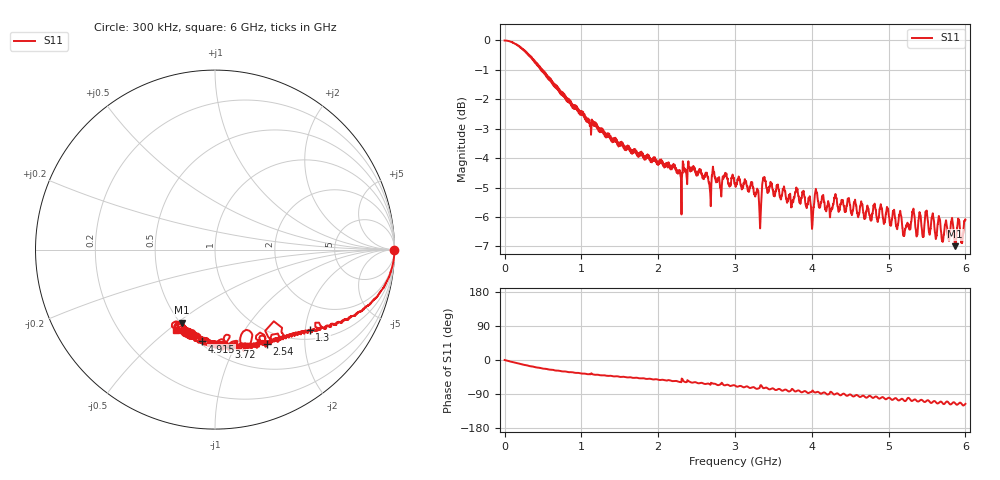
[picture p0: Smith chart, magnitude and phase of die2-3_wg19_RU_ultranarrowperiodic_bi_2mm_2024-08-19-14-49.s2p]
!Keysight Technologies,P9374A,MY57304198,A.17.20.09
!Date: Monday, August 19, 2024 14:49:09
!Correction: S11(C  1-Port  )
!S21(C  1-Port  )
!S12(Off)
!S22(Off)
!S2P File: Measurements: S11, S21, S12, S22:
# Hz S  dB  R 50
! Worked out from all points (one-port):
!   6000 points, 300 kHz to 6 GHz, reference 50 ohm
!   lowest |S11| = -7.0 dB at 5.867 GHz (marker M1), VSWR 2.62, Z = 25.5 - j26 ohm
!   |S11| at or under -10 dB: nowhere
!   S11 on the Smith chart (normalised r, x): 300 kHz: open; 1.3 GHz: 1.23, -2.11; 2.54 GHz: 0.81, -1.35; 3.72 GHz: 0.61, -0.95; 4.915 GHz: 0.52, -0.73; 6 GHz: 0.45, -0.53
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300000  -0.00 -0.0  -200.00 45.0  -200.00 45.0  -200.00 45.0
1.843215e8  -0.19 -9.5  -200.00 45.0  -200.00 45.0  -200.00 45.0
4.213491e8  -0.76 -19.5  -200.00 45.0  -200.00 45.0  -200.00 45.0
6.673778e8  -1.56 -27.7  -200.00 45.0  -200.00 45.0  -200.00 45.0
1.000417e9  -2.51 -35.7  -200.00 45.0  -200.00 45.0  -200.00 45.0
1.300452e9  -3.20 -40.3  -200.00 45.0  -200.00 45.0  -200.00 45.0
2.000533e9  -4.23 -52.1  -200.00 45.0  -200.00 45.0  -200.00 45.0
2.539596e9  -4.40 -61.2  -200.00 45.0  -200.00 45.0  -200.00 45.0
3.00065e9  -4.85 -67.6  -200.00 45.0  -200.00 45.0  -200.00 45.0
3.290684e9  -5.09 -75.9  -200.00 45.0  -200.00 45.0  -200.00 45.0
3.324688e9  -6.32 -71.0  -200.00 45.0  -200.00 45.0  -200.00 45.0
3.382695e9  -4.64 -74.1  -200.00 45.0  -200.00 45.0  -200.00 45.0
3.719734e9  -5.26 -81.9  -200.00 45.0  -200.00 45.0  -200.00 45.0
3.957762e9  -5.35 -87.2  -200.00 45.0  -200.00 45.0  -200.00 45.0
4.000767e9  -6.34 -83.4  -200.00 45.0  -200.00 45.0  -200.00 45.0
4.058774e9  -5.13 -85.1  -200.00 45.0  -200.00 45.0  -200.00 45.0
4.20379e9  -5.63 -91.0  -200.00 45.0  -200.00 45.0  -200.00 45.0
4.253796e9  -5.78 -84.4  -200.00 45.0  -200.00 45.0  -200.00 45.0
4.914873e9  -5.74 -98.0  -200.00 45.0  -200.00 45.0  -200.00 45.0
5.000883e9  -5.91 -99.6  -200.00 45.0  -200.00 45.0  -200.00 45.0
5.866984e9  -6.99 -114.4  -200.00 45.0  -200.00 45.0  -200.00 45.0
6e9  -6.09 -115.8  -200.00 45.0  -200.00 45.0  -200.00 45.0
